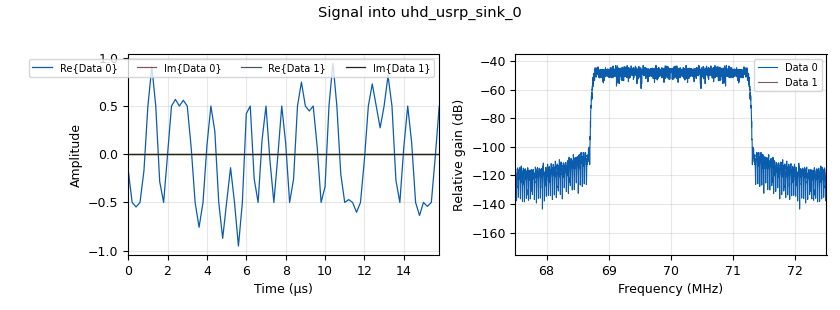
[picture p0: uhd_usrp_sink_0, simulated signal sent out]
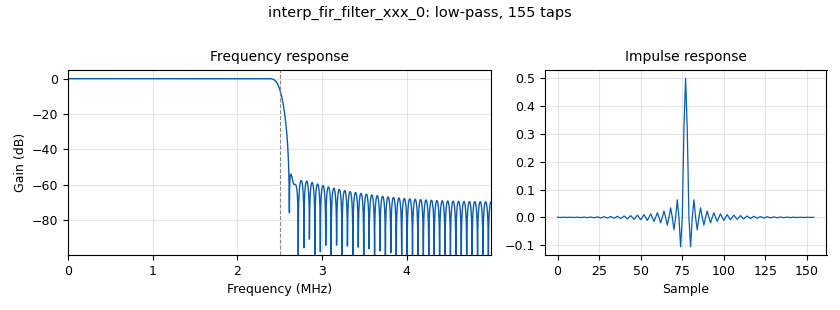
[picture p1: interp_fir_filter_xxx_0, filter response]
options:
  parameters:
    generate_options: qt_gui
    id: ex4_06
    output_language: python
    title: Figure 4.27 Spectrum spreading carrier wave using GLFSR pseudo-random generator
  states: {}

blocks:
- name: D
  id: variable
  parameters:
    value: '200'
  states: {state: disabled}
- name: M
  id: variable
  parameters:
    value: '2'
  states: {}
- name: N
  id: variable
  parameters:
    value: 2**degree-1
  states: {}
- name: carrier
  id: variable
  parameters:
    value: 70e6
  states: {}
- name: degree
  id: variable
  parameters:
    value: '14'
  states: {}
- name: delay
  id: variable_qtgui_range
  parameters:
    start: '0'
    step: '1'
    stop: D
    value: '0'
  states: {state: disabled}
- name: interp_fir
  id: variable_low_pass_filter_taps
  parameters:
    cutoff_freq: samp_rate/2
    gain: '1.0'
    samp_rate: samp_rate*2
    width: samp_rate/32
    win: window.WIN_HAMMING
  states: {}
- name: mydelay
  id: variable_function_probe
  parameters:
    block_id: dela
    function_name: level
    poll_rate: '10'
    value: '0'
  states: {state: disabled}
- name: samp_rate
  id: variable
  parameters:
    value: 5e6
  states: {}
- name: analog_const_source_x_0
  id: analog_const_source_x
  parameters:
    const: '0'
    type: float
  states: {}
- name: analog_noise_source_x_0
  id: analog_noise_source_x
  parameters:
    amp: '1'
    noise_type: analog.GR_GAUSSIAN
    seed: '0'
    type: complex
  states: {state: disabled}
- name: analog_sig_source_x_0
  id: analog_sig_source_x
  parameters:
    amp: D*10
    freq: '.01'
    offset: D//2
    phase: '0'
    samp_rate: samp_rate
    type: int
    waveform: analog.GR_TRI_WAVE
  states: {state: disabled}
- name: blocks_complex_to_mag_0
  id: blocks_complex_to_mag
  parameters: {}
  states: {}
- name: blocks_deinterleave_0
  id: blocks_deinterleave
  parameters:
    type: complex
  states: {state: disabled}
- name: blocks_delay_0
  id: blocks_delay
  parameters:
    delay: mydelay
    type: complex
  states: {state: disabled}
- name: blocks_file_sink_0
  id: blocks_file_sink
  parameters:
    comment: x=read_float_binary('respadding0.bin');plot(((x-x(2))))
    file: '"/tmp/respadding"+str(M)+".bin"'
    type: float
    unbuffered: 'True'
  states: {}
- name: blocks_float_to_complex_0
  id: blocks_float_to_complex
  parameters: {}
  states: {}
- name: blocks_int_to_float_0
  id: blocks_int_to_float
  parameters:
    scale: '1'
  states: {state: disabled}
- name: blocks_interleave_0
  id: blocks_interleave
  parameters:
    type: complex
  states: {state: disabled}
- name: blocks_keep_one_in_n_0
  id: blocks_keep_one_in_n
  parameters:
    n: D
    type: complex
  states: {state: disabled}
- name: blocks_keep_one_in_n_0_0
  id: blocks_keep_one_in_n
  parameters:
    n: D
    type: complex
  states: {state: disabled}
- name: blocks_keep_one_in_n_1
  id: blocks_keep_one_in_n
  parameters:
    n: '30'
    type: complex
    vlen: N
  states: {}
- name: blocks_multiply_conjugate_cc_0
  id: blocks_multiply_conjugate_cc
  parameters:
    vlen: N
  states: {}
- name: blocks_null_source_0
  id: blocks_null_source
  parameters:
    type: complex
  states: {}
- name: blocks_stream_to_vector_0
  id: blocks_stream_to_vector
  parameters:
    num_items: N
    type: complex
  states: {}
- name: blocks_stream_to_vector_0_0
  id: blocks_stream_to_vector
  parameters:
    num_items: N
    type: complex
  states: {}
- name: blocks_throttle2_0
  id: blocks_throttle2
  parameters:
    samples_per_second: samp_rate*D
    type: complex
  states: {state: disabled}
- name: blocks_throttle2_1
  id: blocks_throttle2
  parameters:
    samples_per_second: samp_rate
    type: int
  states: {state: disabled}
- name: blocks_vector_to_stream_0
  id: blocks_vector_to_stream
  parameters:
    num_items: N*(2*M+1)
    type: complex
  states: {}
- name: dela
  id: blocks_probe_signal_x
  parameters:
    type: int
  states: {state: disabled}
- name: digital_glfsr_source_x_0
  id: digital_glfsr_source_x
  parameters:
    degree: degree
    mask: '0'
    repeat: 'True'
    seed: '1'
    type: float
  states: {}
- name: epy_block_0
  id: epy_block
  parameters:
    N: N*(2*M+1)
    _source_code: |
      """
      Embedded Python Blocks:
      """
      import numpy as np
      from gnuradio import gr

      class blk(gr.basic_block):  # other base classes are basic_block, decim_block, interp_block
          def __init__(self, N=1, cancel=True, cancelP=1, printres=True):  # arguments show up as parameters in GRC
              gr.basic_block.__init__(
                  self, name='peak fit',   # will show up in GRC
                  in_sig=[np.complex64], out_sig=[np.float32]
              )
              self.N = N
              self.cancel=cancel
              self.bigarray=np.ones((5*self.N),dtype=np.complex64)
              self.posarray=0
              self.printres=printres
              self.cancelP=cancelP

          def general_work(self, input_items, output_items):
              self.consume(0, len(input_items[0]))
              self.bigarray[self.posarray:self.posarray+len(input_items[0])]=input_items[0]
              self.posarray+=len(input_items[0])
              nbsol=0
              while self.posarray>=self.N:
                  if self.cancel == True:
                      self.bigarray[self.N//2-self.cancelP:self.N//2+self.cancelP]=0
                  coarse=np.argmax(np.absolute(self.bigarray[0:self.N]))  # position du maximum
                  s1=np.absolute(self.bigarray[coarse-1])                 # valeurs des voisins
                  s2=np.absolute(self.bigarray[coarse])
                  s3=np.absolute(self.bigarray[coarse+1])
                  if ((s1+s3-2*s2)==0):
                      print("ERROR")
                  correction=(s1-s3)/(s1+s3-2*s2)/2                       # peak fit
                  solution=coarse+correction
                  self.bigarray[0:self.posarray-self.N]=self.bigarray[self.N:self.posarray]
                  self.posarray-=self.N
                  output_items[0][nbsol]=solution-self.N/2
                  if self.printres==True:
                      print(f"{nbsol} {output_items[0][nbsol]:.6f}")
                  nbsol+=1
              return(nbsol)
    cancel: 'False'
    cancelP: '10'
    printres: 'False'
  states: {}
- name: epy_block_0_0
  id: epy_block
  parameters:
    M: M
    _source_code: |
      """
      Embedded Python Blocks: zero padding
      see https://wiki.gnuradio.org/index.php?title=Python_Block_with_Vectors
      """

      import numpy as np
      from gnuradio import gr

      class blk(gr.sync_block):  # other base classes are basic_block, decim_block, interp_block

          def __init__(self, vectorSize=16383, M=2):  # only default arguments here
              gr.sync_block.__init__(
                  self,
                  name='Zero Padding',
                  in_sig=[(np.complex64,vectorSize)],
                  out_sig=[(np.complex64,vectorSize*(2*M+1))]
              )
              self.vectorSize = vectorSize
              self.M = M

          def work(self, input_items, output_items):
              for vectorIndex in range(len(input_items[0])):
                  z=np.zeros(self.vectorSize*self.M, dtype=np.complex64)
                  output_items[0][vectorIndex][:] = np.concatenate( (z, input_items[0][vectorIndex], z) , axis=0)
              return len(output_items[0])
    comment: |-
      the argument values must match 
      the default values for GRC to 
      validate the flowchart
    vectorSize: N
  states: {}
- name: fft_vxx_0_0
  id: fft_vxx
  parameters:
    fft_size: N
    forward: 'False'
    shift: 'True'
    type: complex
    window: window.blackmanharris(N)
  states: {}
- name: fft_vxx_0_0_0
  id: fft_vxx
  parameters:
    fft_size: N
    forward: 'False'
    shift: 'True'
    type: complex
    window: window.blackmanharris(N)
  states: {}
- name: fft_vxx_0_0_1
  id: fft_vxx
  parameters:
    fft_size: N*(2*M+1)
    forward: 'True'
    shift: 'True'
    type: complex
    window: window.blackmanharris(N*(2*M+1))
  states: {}
- name: interp_fir_filter_xxx_0
  id: interp_fir_filter_xxx
  parameters:
    interp: '2'
    taps: interp_fir
    type: fff
  states: {}
- name: low_pass_filter_0
  id: low_pass_filter
  parameters:
    cutoff_freq: samp_rate/D/2
    decim: '1'
    gain: '1'
    samp_rate: samp_rate
    type: fir_filter_ccf
    width: samp_rate/128
    win: window.WIN_HAMMING
  states: {state: disabled}
- name: qtgui_number_sink_0
  id: qtgui_number_sink
  parameters:
    graph_type: qtgui.NUM_GRAPH_NONE
    label1: Correlation peak
    type: float
  states: {}
- name: qtgui_number_sink_1
  id: qtgui_number_sink
  parameters:
    graph_type: qtgui.NUM_GRAPH_NONE
    label1: Time Delay
    type: float
  states: {state: disabled}
- name: qtgui_time_sink_x_0
  id: qtgui_time_sink_x
  parameters:
    autoscale: 'True'
    label1: Correlation
    size: N*(2*M+1)
    srate: '1'
    type: float
    ymax: 1e8
    ymin: '0'
  states: {}
- name: qtgui_time_sink_x_1
  id: qtgui_time_sink_x
  parameters:
    autoscale: 'True'
    label1: Ch 0 - I
    label2: Ch 0 - Q
    label3: Ch 1 - I
    label4: Ch 1 - Q
    nconnections: '2'
    size: '1024'
    srate: samp_rate
    type: complex
  states: {}
- name: uhd_usrp_sink_0
  id: uhd_usrp_sink
  parameters:
    ant0: '"TX/RX"'
    ant1: '"TX/RX"'
    center_freq0: carrier
    center_freq1: carrier
    gain0: '30'
    gain1: '0'
    nchan: '2'
    otw: sc8
    samp_rate: samp_rate
    sync: sync
    type: fc32
  states: {}
- name: uhd_usrp_source_0
  id: uhd_usrp_source
  parameters:
    ant0: '"RX2"'
    ant1: '"RX2"'
    center_freq0: carrier
    center_freq1: carrier
    gain0: '40'
    gain1: '45'
    nchan: '2'
    otw: sc8
    rx_agc0: Disabled
    rx_agc1: Disabled
    samp_rate: samp_rate
    sync: none
    type: fc32
  states: {}
- name: virtual_sink_0
  id: virtual_sink
  parameters:
    stream_id: noise
  states: {state: disabled}
- name: virtual_source_0
  id: virtual_source
  parameters:
    stream_id: noise
  states: {state: disabled}

connections:
- [analog_const_source_x_0, '0', blocks_float_to_complex_0, '1']
- [analog_noise_source_x_0, '0', blocks_throttle2_0, '0']
- [analog_sig_source_x_0, '0', blocks_throttle2_1, '0']
- [blocks_complex_to_mag_0, '0', qtgui_time_sink_x_0, '0']
- [blocks_deinterleave_0, '0', blocks_stream_to_vector_0, '0']
- [blocks_deinterleave_0, '0', qtgui_time_sink_x_1, '0']
- [blocks_deinterleave_0, '1', blocks_stream_to_vector_0_0, '0']
- [blocks_deinterleave_0, '1', qtgui_time_sink_x_1, '1']
- [blocks_delay_0, '0', blocks_keep_one_in_n_0_0, '0']
- [blocks_float_to_complex_0, '0', uhd_usrp_sink_0, '0']
- [blocks_int_to_float_0, '0', qtgui_number_sink_1, '0']
- [blocks_interleave_0, '0', virtual_sink_0, '0']
- [blocks_keep_one_in_n_0, '0', blocks_interleave_0, '0']
- [blocks_keep_one_in_n_0_0, '0', blocks_interleave_0, '1']
- [blocks_keep_one_in_n_1, '0', epy_block_0_0, '0']
- [blocks_multiply_conjugate_cc_0, '0', blocks_keep_one_in_n_1, '0']
- [blocks_null_source_0, '0', uhd_usrp_sink_0, '1']
- [blocks_stream_to_vector_0, '0', fft_vxx_0_0, '0']
- [blocks_stream_to_vector_0_0, '0', fft_vxx_0_0_0, '0']
- [blocks_throttle2_0, '0', low_pass_filter_0, '0']
- [blocks_throttle2_1, '0', blocks_int_to_float_0, '0']
- [blocks_throttle2_1, '0', dela, '0']
- [blocks_vector_to_stream_0, '0', blocks_complex_to_mag_0, '0']
- [blocks_vector_to_stream_0, '0', epy_block_0, '0']
- [digital_glfsr_source_x_0, '0', interp_fir_filter_xxx_0, '0']
- [epy_block_0, '0', blocks_file_sink_0, '0']
- [epy_block_0, '0', qtgui_number_sink_0, '0']
- [epy_block_0_0, '0', fft_vxx_0_0_1, '0']
- [fft_vxx_0_0, '0', blocks_multiply_conjugate_cc_0, '0']
- [fft_vxx_0_0_0, '0', blocks_multiply_conjugate_cc_0, '1']
- [fft_vxx_0_0_1, '0', blocks_vector_to_stream_0, '0']
- [interp_fir_filter_xxx_0, '0', blocks_float_to_complex_0, '0']
- [low_pass_filter_0, '0', blocks_delay_0, '0']
- [low_pass_filter_0, '0', blocks_keep_one_in_n_0, '0']
- [uhd_usrp_source_0, '0', blocks_stream_to_vector_0, '0']
- [uhd_usrp_source_0, '0', qtgui_time_sink_x_1, '0']
- [uhd_usrp_source_0, '1', blocks_stream_to_vector_0_0, '0']
- [uhd_usrp_source_0, '1', qtgui_time_sink_x_1, '1']
- [virtual_source_0, '0', blocks_deinterleave_0, '0']

metadata:
  file_format: 1
  grc_version: 3.10.9.2
